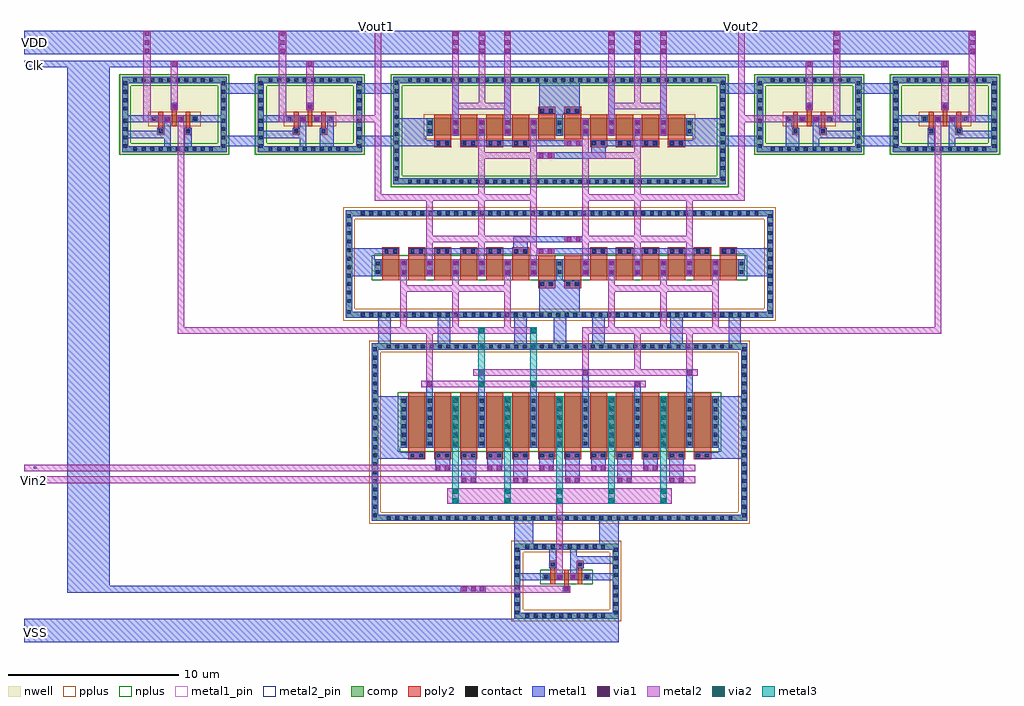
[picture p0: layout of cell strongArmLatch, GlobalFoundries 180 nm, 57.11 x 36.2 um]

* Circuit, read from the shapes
.subckt strongArmLatch Clk VDD VSS Vin1 Vin2 Vout1 Vout2
XM1 n1 VSS VSS VSS nfet_03v3 w=1u l=1u
XM2 n1 VSS VSS VSS nfet_03v3 w=3u l=1u
XM3 Vout1 Vout2 n1 VSS nfet_03v3 w=1u l=1u m=5
XM4 n2 Vin1 n1 VSS nfet_03v3 w=3u l=1u m=3
XM5 n3 Vin2 n2 VSS nfet_03v3 w=3u l=1u m=3
XM6 n2 Vin1 n3 VSS nfet_03v3 w=3u l=1u m=2
XM7 n1 Vin2 n2 VSS nfet_03v3 w=3u l=1u m=2
XM8 VSS VSS Vout1 VSS nfet_03v3 w=1u l=1u
XM9 n2 VSS VSS VSS nfet_03v3 w=0.4u l=0.28u
XM10 VSS Clk n2 VSS nfet_03v3 w=0.4u l=0.28u
XM11 Vout2 VSS VSS VSS nfet_03v3 w=1u l=1u
XM12 VSS VSS VSS VSS nfet_03v3 w=0.4u l=0.28u
XM13 n3 Vout1 Vout2 VSS nfet_03v3 w=1u l=1u m=5
XM14 VSS VSS n3 VSS nfet_03v3 w=3u l=1u
XM15 VSS VSS n3 VSS nfet_03v3 w=1u l=1u
XM16 VDD VDD VDD VDD pfet_03v3 w=0.4u l=0.28u m=4
XM17 n1 Clk VDD VDD pfet_03v3 w=0.4u l=0.28u
XM18 VDD VDD n1 VDD pfet_03v3 w=0.4u l=0.28u
XM19 Vout1 Clk VDD VDD pfet_03v3 w=0.4u l=0.28u
XM20 VDD VDD Vout1 VDD pfet_03v3 w=0.4u l=0.28u
XM21 VDD VDD VDD VDD pfet_03v3 w=1u l=1u m=2
XM22 Vout1 Vout2 VDD VDD pfet_03v3 w=1u l=1u m=3
XM23 VDD VDD Vout1 VDD pfet_03v3 w=1u l=1u
XM24 Vout2 VDD VDD VDD pfet_03v3 w=1u l=1u
XM25 VDD Vout1 Vout2 VDD pfet_03v3 w=1u l=1u m=3
XM26 Vout2 VDD VDD VDD pfet_03v3 w=0.4u l=0.28u
XM27 VDD Clk Vout2 VDD pfet_03v3 w=0.4u l=0.28u
XM28 n3 VDD VDD VDD pfet_03v3 w=0.4u l=0.28u
XM29 VDD Clk n3 VDD pfet_03v3 w=0.4u l=0.28u
.ends

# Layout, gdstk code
from math import pi, radians
import gdstk
lib = gdstk.Library(unit=1e-6, precision=1e-09)
def R(c, l, rs):  # rectangles x0, y0, x1, y1
    for r in rs: c.add(gdstk.rectangle(r[:2], r[2:], *l))
def A(c, l, x, y, w, h, nx, ny, dx, dy):  # array of equal rectangles
    R(c, l, [(x+i*dx, y+j*dy, x+i*dx+w, y+j*dy+h) for i in range(nx) for j in range(ny)])
def P(c, l, *ps):  # polygons
    for p in ps: c.add(gdstk.Polygon(p, *l))
nwell = (21, 0)
comp = (22, 0)
poly2 = (30, 0)
pplus = (31, 0)
nplus = (32, 0)
contact = (33, 0)
metal1 = (34, 0)
metal1_pin = (34, 10)
via1 = (35, 0)
metal2 = (36, 0)
metal2_pin = (36, 10)
via2 = (38, 0)
metal3 = (42, 0)

nfet = lib.new_cell('nfet')
R(nfet, comp, [(0,0,18.6,3)])
A(nfet, poly2, 0.44, -0.22, 1, 3.44, 12, 1, 1.52, 0)
R(nfet, nplus, [(-0.16,-0.23,18.76,3.23)])
A(nfet, contact, 0.07, 0.14, 0.22, 0.22, 13, 6, 1.52, 0.5)
A(nfet, metal1, -0.01, -0.01, 0.38, 3.02, 13, 1, 1.52, 0)

nfet_1 = lib.new_cell('nfet$1')
R(nfet_1, comp, [(0,0,21.64,1)])
A(nfet_1, poly2, 0.44, -0.22, 1, 1.44, 14, 1, 1.52, 0)
R(nfet_1, nplus, [(-0.16,-0.23,21.8,1.23)])
A(nfet_1, contact, 0.07, 0.14, 0.22, 0.22, 15, 2, 1.52, 0.5)
A(nfet_1, metal1, -0.01, -0.01, 0.38, 1.02, 15, 1, 1.52, 0)

pfet = lib.new_cell('pfet')
R(pfet, nwell, [(-0.43,-0.43,15.99,1.43)])
R(pfet, comp, [(0,0,15.56,1)])
A(pfet, poly2, 0.44, -0.22, 1, 1.44, 10, 1, 1.52, 0)
R(pfet, pplus, [(-0.16,-0.23,15.72,1.23)])
A(pfet, contact, 0.07, 0.14, 0.22, 0.22, 11, 2, 1.52, 0.5)
A(pfet, metal1, -0.01, -0.01, 0.38, 1.02, 11, 1, 1.52, 0)

pfet_1 = lib.new_cell('pfet$1')
R(pfet_1, nwell, [(-0.43,-0.43,3.19,0.83)])
R(pfet_1, comp, [(0,0,2.76,0.4)])
A(pfet_1, poly2, 0.44, -0.22, 0.28, 0.84, 3, 1, 0.8, 0)
R(pfet_1, pplus, [(-0.16,-0.23,2.92,0.63)])
A(pfet_1, contact, 0.07, 0.09, 0.22, 0.22, 4, 1, 0.8, 0)
A(pfet_1, metal1, -0.01, -0.01, 0.38, 0.42, 4, 1, 0.8, 0)

nfet_2 = lib.new_cell('nfet$2')
R(nfet_2, comp, [(0,0,2.76,0.4)])
A(nfet_2, poly2, 0.44, -0.22, 0.28, 0.84, 3, 1, 0.8, 0)
R(nfet_2, nplus, [(-0.16,-0.23,2.92,0.63)])
A(nfet_2, contact, 0.07, 0.09, 0.22, 0.22, 4, 1, 0.8, 0)
A(nfet_2, metal1, -0.01, -0.01, 0.38, 0.42, 4, 1, 0.8, 0)

strongarmlatch = lib.new_cell('strongArmLatch')
R(strongarmlatch, nwell, [(2.75,18.98,22.45,25.51), (-13.12,20.87,-6.76,25.51), (-5.19,20.87,1.17,25.51), (24.03,20.87,30.39,25.51), (31.97,20.87,38.33,25.51), (4.39,21.07,20.81,21.54), (-11.75,23.57,-8.13,24.08), (-3.82,23.57,-0.2,24.08), (25.4,23.57,29.02,24.08), (33.34,23.57,36.96,24.08)])
A(strongarmlatch, comp, 5.84, -0.59, 3.48, 0.36, 4, 2, 3.48, 10.03)
A(strongarmlatch, comp, 4.32, 11.3, 3.48, 0.36, 5, 2, 3.48, 5.94)
A(strongarmlatch, comp, 7.09, 19.1, 3.48, 0.36, 3, 2, 3.48, 5.93)
A(strongarmlatch, comp, -9, 20.99, 0.48, 0.36, 3, 2, 0.48, 4.04)
A(strongarmlatch, comp, -1.07, 20.99, 0.48, 0.36, 3, 2, 0.48, 4.04)
A(strongarmlatch, comp, 24.83, 20.99, 0.48, 0.36, 3, 2, 0.48, 4.04)
A(strongarmlatch, comp, 32.77, 20.99, 0.48, 0.36, 3, 2, 0.48, 4.04)
R(strongarmlatch, comp, [(9.94,-6.31,10.46,-5.95), (9.94,-6.31,10.46,-5.95), (10.46,-6.31,13.94,-5.95), (10.46,-6.31,13.94,-5.95), (13.94,-6.31,14.42,-5.95), (13.94,-6.31,14.42,-5.95), (14.42,-6.31,14.9,-5.95), (14.42,-6.31,14.9,-5.95), (14.9,-6.31,15.38,-5.95), (14.9,-6.31,15.38,-5.95), (15.38,-6.31,15.54,-5.95), (15.38,-6.31,15.54,-5.95), (15.54,-6.31,16.06,-5.95), (15.54,-6.31,16.06,-5.95), (9.94,-5.95,10.3,-4.34), (9.94,-5.95,10.3,-4.34), (15.7,-5.95,16.06,-4.34), (15.7,-5.95,16.06,-4.34), (9.94,-4.71,10.3,-4.23), (9.94,-4.71,10.3,-4.23), (15.7,-4.71,16.06,-4.23), (15.7,-4.71,16.06,-4.23), (9.94,-4.23,10.3,-3.99), (9.94,-4.23,10.3,-3.99), (15.7,-4.23,16.06,-3.99), (15.7,-4.23,16.06,-3.99), (9.94,-3.99,10.3,-3.51), (9.94,-3.99,10.3,-3.51), (15.7,-3.99,16.06,-3.51), (15.7,-3.99,16.06,-3.51), (9.94,-3.88,10.3,-2.27), (9.94,-3.88,10.3,-2.27), (15.7,-3.88,16.06,-2.27), (15.7,-3.88,16.06,-2.27), (9.94,-2.27,10.46,-1.91), (9.94,-2.27,10.46,-1.91), (10.46,-2.27,13.94,-1.91), (10.46,-2.27,13.94,-1.91), (13.94,-2.27,14.42,-1.91), (13.94,-2.27,14.42,-1.91), (14.42,-2.27,14.9,-1.91), (14.42,-2.27,14.9,-1.91), (14.9,-2.27,15.38,-1.91), (14.9,-2.27,15.38,-1.91), (15.38,-2.27,15.54,-1.91), (15.38,-2.27,15.54,-1.91), (15.54,-2.27,16.06,-1.91), (15.54,-2.27,16.06,-1.91), (1.62,-0.59,5.84,-0.23), (19.36,-0.59,23.58,-0.23), (1.62,-0.23,1.98,3.73), (23.22,-0.23,23.58,3.73), (1.62,3.73,1.98,5.48), (23.22,3.73,23.58,5.48), (1.62,5.48,1.98,9.44), (23.22,5.48,23.58,9.44), (1.62,9.44,5.84,9.8), (19.36,9.44,23.58,9.8), (0.1,11.3,4.32,11.66), (20.88,11.3,25.1,11.66), (0.1,11.66,0.46,13.28), (24.74,11.66,25.1,13.28), (0.1,13.28,0.46,17.24), (24.74,13.28,25.1,17.24), (0.1,17.24,4.32,17.6), (20.88,17.24,25.1,17.6), (2.87,19.1,7.09,19.46), (17.53,19.1,18.11,19.46), (18.11,19.1,22.33,19.46), (2.87,19.46,3.23,21.07), (21.97,19.46,22.33,21.07), (-13,20.99,-12.48,21.35), (-12.48,20.99,-9,21.35), (-7.56,20.99,-7.4,21.35), (-7.4,20.99,-6.88,21.35), (-5.07,20.99,-4.55,21.35), (-4.55,20.99,-1.07,21.35), (0.37,20.99,0.53,21.35), (0.53,20.99,1.05,21.35), (24.15,20.99,24.67,21.35), (24.67,20.99,24.83,21.35), (26.27,20.99,29.75,21.35), (29.75,20.99,30.27,21.35), (32.09,20.99,32.61,21.35), (32.61,20.99,32.77,21.35), (34.21,20.99,37.69,21.35), (37.69,20.99,38.21,21.35), (2.87,21.07,3.23,25.03), (21.97,21.07,22.33,25.03), (-13,21.35,-12.64,22.96), (-7.24,21.35,-6.88,22.96), (-5.07,21.35,-4.71,22.96), (0.69,21.35,1.05,22.96), (24.15,21.35,24.51,22.96), (29.91,21.35,30.27,22.96), (32.09,21.35,32.45,22.96), (37.85,21.35,38.21,22.96), (-13,22.59,-12.64,23.07), (-7.24,22.59,-6.88,23.07), (-5.07,22.59,-4.71,23.07), (0.69,22.59,1.05,23.07), (24.15,22.59,24.51,23.07), (29.91,22.59,30.27,23.07), (32.09,22.59,32.45,23.07), (37.85,22.59,38.21,23.07), (-13,23.07,-12.64,23.31), (-7.24,23.07,-6.88,23.31), (-5.07,23.07,-4.71,23.31), (0.69,23.07,1.05,23.31), (24.15,23.07,24.51,23.31), (29.91,23.07,30.27,23.31), (32.09,23.07,32.45,23.31), (37.85,23.07,38.21,23.31), (-13,23.31,-12.64,23.79), (-7.24,23.31,-6.88,23.79), (-5.07,23.31,-4.71,23.79), (0.69,23.31,1.05,23.79), (24.15,23.31,24.51,23.79), (29.91,23.31,30.27,23.79), (32.09,23.31,32.45,23.79), (37.85,23.31,38.21,23.79), (-13,23.42,-12.64,25.03), (-7.24,23.42,-6.88,25.03), (-5.07,23.42,-4.71,25.03), (0.69,23.42,1.05,25.03), (24.15,23.42,24.51,25.03), (29.91,23.42,30.27,25.03), (32.09,23.42,32.45,25.03), (37.85,23.42,38.21,25.03), (-13,25.03,-12.48,25.39), (-12.48,25.03,-9,25.39), (-7.56,25.03,-7.4,25.39), (-7.4,25.03,-6.88,25.39), (-5.07,25.03,-4.55,25.39), (-4.55,25.03,-1.07,25.39), (0.37,25.03,0.53,25.39), (0.53,25.03,1.05,25.39), (2.87,25.03,7.09,25.39), (17.53,25.03,18.11,25.39), (18.11,25.03,22.33,25.39), (24.15,25.03,24.67,25.39), (24.67,25.03,24.83,25.39), (26.27,25.03,29.75,25.39), (29.75,25.03,30.27,25.39), (32.09,25.03,32.61,25.39), (32.61,25.03,32.77,25.39), (34.21,25.03,37.69,25.39), (37.69,25.03,38.21,25.39)])
A(strongarmlatch, poly2, 3.74, 3.01, 1, 0.47, 12, 1, 1.52, 0)
A(strongarmlatch, poly2, 2.22, 14.95, 1, 0.47, 6, 1, 1.52, 0)
A(strongarmlatch, poly2, 14.38, 14.95, 1, 0.47, 6, 1, 1.52, 0)
A(strongarmlatch, poly2, 5.26, 21.28, 1, 0.47, 4, 1, 1.52, 0)
A(strongarmlatch, poly2, 14.38, 21.28, 1, 0.47, 4, 1, 1.52, 0)
R(strongarmlatch, poly2, [(12.79,-4.79,13.21,-4.37), (12.79,-4.79,13.21,-4.37), (12.86,-4.37,13.14,-4.28), (12.86,-4.37,13.14,-4.28), (12.06,-3.44,12.34,-3.35), (12.06,-3.44,12.34,-3.35), (13.66,-3.44,13.94,-3.35), (13.66,-3.44,13.94,-3.35), (11.99,-3.35,12.41,-2.93), (11.99,-3.35,12.41,-2.93), (13.59,-3.35,14.01,-2.93), (13.59,-3.35,14.01,-2.93), (11.34,13.04,12.34,13.51), (11.34,13.04,12.34,13.51), (12.86,13.04,13.86,13.51), (12.86,13.04,13.86,13.51), (9.82,14.95,10.82,15.42), (14.38,14.95,15.38,15.42), (18.94,21.28,19.94,21.75), (-10.95,22.01,-10.53,22.43), (-9.35,22.01,-8.93,22.43), (-3.02,22.01,-2.6,22.43), (-1.42,22.01,-1,22.43), (26.2,22.01,26.62,22.43), (27.8,22.01,28.22,22.43), (34.14,22.01,34.56,22.43), (35.74,22.01,36.16,22.43), (-10.88,22.43,-10.6,22.52), (-9.28,22.43,-9,22.52), (-2.95,22.43,-2.67,22.52), (-1.35,22.43,-1.07,22.52), (26.27,22.43,26.55,22.52), (27.87,22.43,28.15,22.52), (34.21,22.43,34.49,22.52), (35.81,22.43,36.09,22.52), (11.34,23.19,12.34,23.66), (11.34,23.19,12.34,23.66), (12.86,23.19,13.86,23.66), (12.86,23.19,13.86,23.66), (-10.08,23.36,-9.8,23.45), (-2.15,23.36,-1.87,23.45), (27.07,23.36,27.35,23.45), (35.01,23.36,35.29,23.45), (-10.15,23.45,-9.73,23.87), (-2.22,23.45,-1.8,23.87), (27,23.45,27.42,23.87), (34.94,23.45,35.36,23.87)])
A(strongarmlatch, pplus, 5.84, -0.75, 3.48, 0.68, 4, 2, 3.48, 10.03)
A(strongarmlatch, pplus, 4.32, 11.14, 3.48, 0.68, 5, 2, 3.48, 5.94)
R(strongarmlatch, pplus, [(9.78,-6.47,10.46,-1.75), (9.78,-6.47,10.46,-1.75), (10.46,-6.47,15.54,-5.79), (10.46,-6.47,15.54,-5.79), (15.54,-6.47,16.22,-1.75), (15.54,-6.47,16.22,-1.75), (10.46,-2.43,15.54,-1.75), (10.46,-2.43,15.54,-1.75), (1.46,-0.75,5.84,-0.07), (19.36,-0.75,23.74,-0.07), (1.46,-0.07,2.14,3.57), (23.06,-0.07,23.74,3.57), (1.46,3.57,2.14,5.64), (23.06,3.57,23.74,5.64), (1.46,5.64,2.14,9.28), (23.06,5.64,23.74,9.28), (1.46,9.28,5.84,9.96), (19.36,9.28,23.74,9.96), (-0.06,11.14,4.32,11.82), (20.88,11.14,25.26,11.82), (-0.06,11.82,0.62,13.44), (24.58,11.82,25.26,13.44), (-0.06,13.44,0.62,17.08), (24.58,13.44,25.26,17.08), (-0.06,17.08,4.32,17.76), (20.88,17.08,25.26,17.76)])
A(strongarmlatch, nplus, 7.09, 18.94, 3.48, 0.68, 3, 2, 3.48, 5.93)
A(strongarmlatch, nplus, -9, 20.83, 0.48, 0.68, 3, 2, 0.48, 4.04)
A(strongarmlatch, nplus, -1.07, 20.83, 0.48, 0.68, 3, 2, 0.48, 4.04)
A(strongarmlatch, nplus, 24.83, 20.83, 0.48, 0.68, 3, 2, 0.48, 4.04)
A(strongarmlatch, nplus, 32.77, 20.83, 0.48, 0.68, 3, 2, 0.48, 4.04)
R(strongarmlatch, nplus, [(2.71,18.94,7.09,19.62), (17.53,18.94,18.11,19.62), (18.11,18.94,22.49,19.62), (2.71,19.62,3.39,21.23), (21.81,19.62,22.49,21.23), (-13.16,20.83,-12.48,21.19), (-12.48,20.83,-9,21.51), (-7.56,20.83,-7.4,21.51), (-7.4,20.83,-6.72,21.19), (-5.23,20.83,-4.55,21.19), (-4.55,20.83,-1.07,21.51), (0.37,20.83,0.53,21.51), (0.53,20.83,1.21,21.19), (23.99,20.83,24.67,21.19), (24.67,20.83,24.83,21.51), (26.27,20.83,29.75,21.51), (29.75,20.83,30.43,21.19), (31.93,20.83,32.61,21.19), (32.61,20.83,32.77,21.51), (34.21,20.83,37.69,21.51), (37.69,20.83,38.37,21.19), (-13.16,21.19,-12.48,22.8), (-7.4,21.19,-6.72,22.8), (-5.23,21.19,-4.55,22.8), (0.53,21.19,1.21,22.8), (23.99,21.19,24.67,22.8), (29.75,21.19,30.43,22.8), (31.93,21.19,32.61,22.8), (37.69,21.19,38.37,22.8), (2.71,21.23,3.39,24.87), (21.81,21.23,22.49,24.87), (-13.16,22.59,-12.48,23.07), (-7.4,22.59,-6.72,23.07), (-5.23,22.59,-4.55,23.07), (0.53,22.59,1.21,23.07), (23.99,22.59,24.67,23.07), (29.75,22.59,30.43,23.07), (31.93,22.59,32.61,23.07), (37.69,22.59,38.37,23.07), (-13.16,23.07,-12.48,23.31), (-7.4,23.07,-6.72,23.31), (-5.23,23.07,-4.55,23.31), (0.53,23.07,1.21,23.31), (23.99,23.07,24.67,23.31), (29.75,23.07,30.43,23.31), (31.93,23.07,32.61,23.31), (37.69,23.07,38.37,23.31), (-13.16,23.31,-12.48,23.79), (-7.4,23.31,-6.72,23.79), (-5.23,23.31,-4.55,23.79), (0.53,23.31,1.21,23.79), (23.99,23.31,24.67,23.79), (29.75,23.31,30.43,23.79), (31.93,23.31,32.61,23.79), (37.69,23.31,38.37,23.79), (-13.16,23.58,-12.48,25.19), (-7.4,23.58,-6.72,25.19), (-5.23,23.58,-4.55,25.19), (0.53,23.58,1.21,25.19), (23.99,23.58,24.67,25.19), (29.75,23.58,30.43,25.19), (31.93,23.58,32.61,25.19), (37.69,23.58,38.37,25.19), (-12.48,24.87,-9,25.55), (-7.56,24.87,-7.4,25.55), (-4.55,24.87,-1.07,25.55), (0.37,24.87,0.53,25.55), (2.71,24.87,7.09,25.55), (17.53,24.87,18.11,25.55), (18.11,24.87,22.49,25.55), (24.67,24.87,24.83,25.55), (26.27,24.87,29.75,25.55), (32.61,24.87,32.77,25.55), (34.21,24.87,37.69,25.55), (-13.16,25.19,-12.48,25.55), (-7.4,25.19,-6.72,25.55), (-5.23,25.19,-4.55,25.55), (0.53,25.19,1.21,25.55), (23.99,25.19,24.67,25.55), (29.75,25.19,30.43,25.55), (31.93,25.19,32.61,25.55), (37.69,25.19,38.37,25.55)])
A(strongarmlatch, contact, 2.49, -0.52, 0.22, 0.22, 7, 2, 0.5, 10.03)
A(strongarmlatch, contact, 5.97, -0.52, 0.22, 0.22, 7, 2, 0.5, 10.03)
A(strongarmlatch, contact, 9.45, -0.52, 0.22, 0.22, 7, 2, 0.5, 10.03)
A(strongarmlatch, contact, 12.93, -0.52, 0.22, 0.22, 7, 2, 0.5, 10.03)
A(strongarmlatch, contact, 16.41, -0.52, 0.22, 0.22, 6, 2, 0.5, 10.03)
A(strongarmlatch, contact, 19.99, -0.52, 0.22, 0.22, 6, 2, 0.5, 10.03)
A(strongarmlatch, contact, 1.69, -0.36, 0.22, 0.22, 1, 8, 0, 0.5)
A(strongarmlatch, contact, 23.29, -0.36, 0.22, 0.22, 1, 8, 0, 0.5)
A(strongarmlatch, contact, 1.69, 5.85, 0.22, 0.22, 1, 8, 0, 0.5)
A(strongarmlatch, contact, 23.29, 5.85, 0.22, 0.22, 1, 8, 0, 0.5)
A(strongarmlatch, contact, 0.97, 11.37, 0.22, 0.22, 7, 2, 0.5, 5.94)
A(strongarmlatch, contact, 4.45, 11.37, 0.22, 0.22, 7, 2, 0.5, 5.94)
A(strongarmlatch, contact, 7.93, 11.37, 0.22, 0.22, 7, 2, 0.5, 5.94)
A(strongarmlatch, contact, 11.41, 11.37, 0.22, 0.22, 7, 2, 0.5, 5.94)
A(strongarmlatch, contact, 14.89, 11.37, 0.22, 0.22, 7, 2, 0.5, 5.94)
A(strongarmlatch, contact, 18.37, 11.37, 0.22, 0.22, 6, 2, 0.5, 5.94)
A(strongarmlatch, contact, 22.01, 11.37, 0.22, 0.22, 5, 2, 0.5, 5.94)
A(strongarmlatch, contact, 0.17, 12.17, 0.22, 0.22, 1, 3, 0, 0.5)
A(strongarmlatch, contact, 24.81, 12.17, 0.22, 0.22, 1, 3, 0, 0.5)
A(strongarmlatch, contact, 0.17, 13.65, 0.22, 0.22, 1, 8, 0, 0.5)
A(strongarmlatch, contact, 24.81, 13.65, 0.22, 0.22, 1, 8, 0, 0.5)
A(strongarmlatch, contact, 3.74, 19.17, 0.22, 0.22, 7, 2, 0.5, 5.93)
A(strongarmlatch, contact, 7.22, 19.17, 0.22, 0.22, 7, 2, 0.5, 5.93)
A(strongarmlatch, contact, 10.7, 19.17, 0.22, 0.22, 7, 2, 0.5, 5.93)
A(strongarmlatch, contact, 14.18, 19.17, 0.22, 0.22, 7, 2, 0.5, 5.93)
A(strongarmlatch, contact, 18.28, 19.17, 0.22, 0.22, 3, 2, 0.48, 5.93)
A(strongarmlatch, contact, 19.74, 19.17, 0.22, 0.22, 4, 2, 0.5, 5.93)
A(strongarmlatch, contact, 2.94, 19.96, 0.22, 0.22, 1, 3, 0, 0.5)
A(strongarmlatch, contact, 22.04, 19.96, 0.22, 0.22, 1, 3, 0, 0.5)
A(strongarmlatch, contact, -12.35, 21.06, 0.22, 0.22, 7, 2, 0.5, 4.04)
A(strongarmlatch, contact, -8.87, 21.06, 0.22, 0.22, 3, 2, 0.48, 4.04)
A(strongarmlatch, contact, -4.42, 21.06, 0.22, 0.22, 7, 2, 0.5, 4.04)
A(strongarmlatch, contact, -0.94, 21.06, 0.22, 0.22, 3, 2, 0.48, 4.04)
A(strongarmlatch, contact, 24.96, 21.06, 0.22, 0.22, 4, 2, 0.48, 4.04)
A(strongarmlatch, contact, 26.9, 21.06, 0.22, 0.22, 6, 2, 0.5, 4.04)
A(strongarmlatch, contact, 32.9, 21.06, 0.22, 0.22, 4, 2, 0.48, 4.04)
A(strongarmlatch, contact, 34.84, 21.06, 0.22, 0.22, 6, 2, 0.5, 4.04)
A(strongarmlatch, contact, -12.93, 21.24, 0.22, 0.22, 1, 3, 0, 0.5)
A(strongarmlatch, contact, -7.17, 21.24, 0.22, 0.22, 1, 3, 0, 0.5)
A(strongarmlatch, contact, -5, 21.24, 0.22, 0.22, 1, 3, 0, 0.5)
A(strongarmlatch, contact, 0.76, 21.24, 0.22, 0.22, 1, 3, 0, 0.5)
A(strongarmlatch, contact, 24.22, 21.24, 0.22, 0.22, 1, 3, 0, 0.5)
A(strongarmlatch, contact, 29.98, 21.24, 0.22, 0.22, 1, 3, 0, 0.5)
A(strongarmlatch, contact, 32.16, 21.24, 0.22, 0.22, 1, 3, 0, 0.5)
A(strongarmlatch, contact, 37.92, 21.24, 0.22, 0.22, 1, 3, 0, 0.5)
A(strongarmlatch, contact, 2.94, 21.44, 0.22, 0.22, 1, 8, 0, 0.5)
A(strongarmlatch, contact, 22.04, 21.44, 0.22, 0.22, 1, 8, 0, 0.5)
A(strongarmlatch, contact, -12.93, 23.92, 0.22, 0.22, 1, 3, 0, 0.5)
A(strongarmlatch, contact, -7.17, 23.92, 0.22, 0.22, 1, 3, 0, 0.5)
A(strongarmlatch, contact, -5, 23.92, 0.22, 0.22, 1, 3, 0, 0.5)
A(strongarmlatch, contact, 0.76, 23.92, 0.22, 0.22, 1, 3, 0, 0.5)
A(strongarmlatch, contact, 24.22, 23.92, 0.22, 0.22, 1, 3, 0, 0.5)
A(strongarmlatch, contact, 29.98, 23.92, 0.22, 0.22, 1, 3, 0, 0.5)
A(strongarmlatch, contact, 32.16, 23.92, 0.22, 0.22, 1, 3, 0, 0.5)
A(strongarmlatch, contact, 37.92, 23.92, 0.22, 0.22, 1, 3, 0, 0.5)
R(strongarmlatch, contact, [(10.59,-6.24,10.81,-6.02), (10.59,-6.24,10.81,-6.02), (11.09,-6.24,11.31,-6.02), (11.09,-6.24,11.31,-6.02), (11.59,-6.24,11.81,-6.02), (11.59,-6.24,11.81,-6.02), (12.09,-6.24,12.31,-6.02), (12.09,-6.24,12.31,-6.02), (12.59,-6.24,12.81,-6.02), (12.59,-6.24,12.81,-6.02), (13.09,-6.24,13.31,-6.02), (13.09,-6.24,13.31,-6.02), (13.59,-6.24,13.81,-6.02), (13.59,-6.24,13.81,-6.02), (14.07,-6.24,14.29,-6.02), (14.07,-6.24,14.29,-6.02), (14.55,-6.24,14.77,-6.02), (14.55,-6.24,14.77,-6.02), (15.03,-6.24,15.25,-6.02), (15.03,-6.24,15.25,-6.02), (10.01,-6.06,10.23,-5.84), (10.01,-6.06,10.23,-5.84), (15.77,-6.06,15.99,-5.84), (15.77,-6.06,15.99,-5.84), (10.01,-5.56,10.23,-5.34), (10.01,-5.56,10.23,-5.34), (15.77,-5.56,15.99,-5.34), (15.77,-5.56,15.99,-5.34), (10.01,-5.06,10.23,-4.84), (10.01,-5.06,10.23,-4.84), (15.77,-5.06,15.99,-4.84), (15.77,-5.06,15.99,-4.84), (12.89,-4.69,13.11,-4.47), (12.89,-4.69,13.11,-4.47), (10.01,-4.58,10.23,-4.36), (10.01,-4.58,10.23,-4.36), (15.77,-4.58,15.99,-4.36), (15.77,-4.58,15.99,-4.36), (10.01,-3.86,10.23,-3.64), (10.01,-3.86,10.23,-3.64), (15.77,-3.86,15.99,-3.64), (15.77,-3.86,15.99,-3.64), (10.01,-3.38,10.23,-3.16), (10.01,-3.38,10.23,-3.16), (15.77,-3.38,15.99,-3.16), (15.77,-3.38,15.99,-3.16), (12.09,-3.25,12.31,-3.03), (12.09,-3.25,12.31,-3.03), (13.69,-3.25,13.91,-3.03), (13.69,-3.25,13.91,-3.03), (10.01,-2.88,10.23,-2.66), (10.01,-2.88,10.23,-2.66), (15.77,-2.88,15.99,-2.66), (15.77,-2.88,15.99,-2.66), (10.01,-2.38,10.23,-2.16), (10.01,-2.38,10.23,-2.16), (15.77,-2.38,15.99,-2.16), (15.77,-2.38,15.99,-2.16), (10.59,-2.2,10.81,-1.98), (10.59,-2.2,10.81,-1.98), (11.09,-2.2,11.31,-1.98), (11.09,-2.2,11.31,-1.98), (11.59,-2.2,11.81,-1.98), (11.59,-2.2,11.81,-1.98), (12.09,-2.2,12.31,-1.98), (12.09,-2.2,12.31,-1.98), (12.59,-2.2,12.81,-1.98), (12.59,-2.2,12.81,-1.98), (13.09,-2.2,13.31,-1.98), (13.09,-2.2,13.31,-1.98), (13.59,-2.2,13.81,-1.98), (13.59,-2.2,13.81,-1.98), (14.07,-2.2,14.29,-1.98), (14.07,-2.2,14.29,-1.98), (14.55,-2.2,14.77,-1.98), (14.55,-2.2,14.77,-1.98), (15.03,-2.2,15.25,-1.98), (15.03,-2.2,15.25,-1.98), (19.45,-0.52,19.67,-0.3), (3.88,3.13,4.1,3.35), (4.38,3.13,4.6,3.35), (5.4,3.13,5.62,3.35), (5.9,3.13,6.12,3.35), (6.92,3.13,7.14,3.35), (7.42,3.13,7.64,3.35), (8.44,3.13,8.66,3.35), (8.94,3.13,9.16,3.35), (9.96,3.13,10.18,3.35), (10.46,3.13,10.68,3.35), (11.48,3.13,11.7,3.35), (11.98,3.13,12.2,3.35), (13,3.13,13.22,3.35), (13.5,3.13,13.72,3.35), (14.52,3.13,14.74,3.35), (15.02,3.13,15.24,3.35), (16.04,3.13,16.26,3.35), (16.54,3.13,16.76,3.35), (17.56,3.13,17.78,3.35), (18.06,3.13,18.28,3.35), (19.08,3.13,19.3,3.35), (19.58,3.13,19.8,3.35), (20.6,3.13,20.82,3.35), (21.1,3.13,21.32,3.35), (1.69,3.62,1.91,3.84), (23.29,3.62,23.51,3.84), (1.69,4.1,1.91,4.32), (23.29,4.1,23.51,4.32), (1.69,4.73,1.91,4.95), (23.29,4.73,23.51,4.95), (1.69,5.37,1.91,5.59), (23.29,5.37,23.51,5.59), (19.45,9.51,19.67,9.73), (21.53,11.37,21.75,11.59), (0.17,11.53,0.39,11.75), (24.81,11.53,25.03,11.75), (11.48,13.17,11.7,13.39), (11.48,13.17,11.7,13.39), (11.98,13.17,12.2,13.39), (11.98,13.17,12.2,13.39), (13,13.17,13.22,13.39), (13,13.17,13.22,13.39), (13.5,13.17,13.72,13.39), (13.5,13.17,13.72,13.39), (2.36,15.08,2.58,15.3), (2.86,15.08,3.08,15.3), (3.88,15.08,4.1,15.3), (4.38,15.08,4.6,15.3), (5.4,15.08,5.62,15.3), (5.9,15.08,6.12,15.3), (6.92,15.08,7.14,15.3), (7.42,15.08,7.64,15.3), (8.44,15.08,8.66,15.3), (8.94,15.08,9.16,15.3), (9.96,15.08,10.18,15.3), (9.96,15.08,10.18,15.3), (10.46,15.08,10.68,15.3), (10.46,15.08,10.68,15.3), (14.52,15.08,14.74,15.3), (14.52,15.08,14.74,15.3), (15.02,15.08,15.24,15.3), (15.02,15.08,15.24,15.3), (16.04,15.08,16.26,15.3), (16.54,15.08,16.76,15.3), (17.56,15.08,17.78,15.3), (18.06,15.08,18.28,15.3), (19.08,15.08,19.3,15.3), (19.58,15.08,19.8,15.3), (20.6,15.08,20.82,15.3), (21.1,15.08,21.32,15.3), (22.12,15.08,22.34,15.3), (22.62,15.08,22.84,15.3), (21.53,17.31,21.75,17.53), (17.73,19.17,17.95,19.39), (2.94,19.33,3.16,19.55), (22.04,19.33,22.26,19.55), (5.4,21.41,5.62,21.63), (5.4,21.41,5.62,21.63), (5.9,21.41,6.12,21.63), (5.9,21.41,6.12,21.63), (6.92,21.41,7.14,21.63), (7.42,21.41,7.64,21.63), (8.44,21.41,8.66,21.63), (8.94,21.41,9.16,21.63), (9.96,21.41,10.18,21.63), (10.46,21.41,10.68,21.63), (14.52,21.41,14.74,21.63), (15.02,21.41,15.24,21.63), (16.04,21.41,16.26,21.63), (16.54,21.41,16.76,21.63), (17.56,21.41,17.78,21.63), (18.06,21.41,18.28,21.63), (19.08,21.41,19.3,21.63), (19.08,21.41,19.3,21.63), (19.58,21.41,19.8,21.63), (19.58,21.41,19.8,21.63), (-10.85,22.11,-10.63,22.33), (-9.25,22.11,-9.03,22.33), (-2.92,22.11,-2.7,22.33), (-1.32,22.11,-1.1,22.33), (26.3,22.11,26.52,22.33), (27.9,22.11,28.12,22.33), (34.24,22.11,34.46,22.33), (35.84,22.11,36.06,22.33), (-12.93,22.72,-12.71,22.94), (-7.17,22.72,-6.95,22.94), (-5,22.72,-4.78,22.94), (0.76,22.72,0.98,22.94), (24.22,22.72,24.44,22.94), (29.98,22.72,30.2,22.94), (32.16,22.72,32.38,22.94), (37.92,22.72,38.14,22.94), (11.48,23.31,11.7,23.53), (11.48,23.31,11.7,23.53), (11.98,23.31,12.2,23.53), (11.98,23.31,12.2,23.53), (13,23.31,13.22,23.53), (13,23.31,13.22,23.53), (13.5,23.31,13.72,23.53), (13.5,23.31,13.72,23.53), (-12.93,23.44,-12.71,23.66), (-7.17,23.44,-6.95,23.66), (-5,23.44,-4.78,23.66), (0.76,23.44,0.98,23.66), (24.22,23.44,24.44,23.66), (29.98,23.44,30.2,23.66), (32.16,23.44,32.38,23.66), (37.92,23.44,38.14,23.66), (-10.05,23.55,-9.83,23.77), (-2.12,23.55,-1.9,23.77), (27.1,23.55,27.32,23.77), (35.04,23.55,35.26,23.77), (17.73,25.1,17.95,25.32)])
A(strongarmlatch, metal1, 5.84, -0.59, 3.48, 0.36, 4, 2, 3.48, 10.03)
A(strongarmlatch, metal1, 6.85, 1.62, 0.86, 1.44, 5, 1, 3.04, 0)
A(strongarmlatch, metal1, 5.33, 2.31, 0.86, 0.75, 5, 1, 3.04, 0)
A(strongarmlatch, metal1, 3.81, 3.06, 0.86, 0.36, 12, 1, 1.52, 0)
A(strongarmlatch, metal1, 4.81, 6.71, 0.38, 0.9, 3, 1, 6.08, 0)
A(strongarmlatch, metal1, 7.85, 6.71, 0.38, 1.57, 3, 1, 6.08, 0)
A(strongarmlatch, metal1, 4.32, 11.3, 3.48, 0.36, 5, 2, 3.48, 5.94)
A(strongarmlatch, metal1, 2.29, 15.01, 0.86, 0.36, 6, 1, 1.52, 0)
A(strongarmlatch, metal1, 14.45, 15.01, 0.86, 0.36, 6, 1, 1.52, 0)
A(strongarmlatch, metal1, 7.09, 19.1, 3.48, 0.36, 3, 2, 3.48, 5.93)
A(strongarmlatch, metal1, -9, 20.99, 0.48, 0.36, 3, 2, 0.48, 4.04)
A(strongarmlatch, metal1, -1.07, 20.99, 0.48, 0.36, 3, 2, 0.48, 4.04)
A(strongarmlatch, metal1, 24.83, 20.99, 0.48, 0.36, 3, 2, 0.48, 4.04)
A(strongarmlatch, metal1, 32.77, 20.99, 0.48, 0.36, 3, 2, 0.48, 4.04)
A(strongarmlatch, metal1, 5.33, 21.34, 0.86, 0.36, 4, 1, 1.52, 0)
A(strongarmlatch, metal1, 14.45, 21.34, 0.86, 0.36, 4, 1, 1.52, 0)
A(strongarmlatch, metal1, -18.73, 25.95, 13.14, 0.38, 4, 1, 13.14, 0)
A(strongarmlatch, metal1, -18.73, 26.73, 13.14, 1.38, 4, 1, 13.14, 0)
R(strongarmlatch, metal1, [(-18.73,-7.69,-5.59,-6.31), (-5.59,-7.69,7.55,-6.31), (7.55,-7.69,16.06,-6.31), (7.55,-7.69,16.06,-6.31), (9.94,-6.31,10.46,-5.95), (9.94,-6.31,10.46,-5.95), (10.46,-6.31,13.94,-5.95), (10.46,-6.31,13.94,-5.95), (13.94,-6.31,14.42,-5.95), (13.94,-6.31,14.42,-5.95), (14.42,-6.31,14.9,-5.95), (14.42,-6.31,14.9,-5.95), (14.9,-6.31,15.38,-5.95), (14.9,-6.31,15.38,-5.95), (15.38,-6.31,15.54,-5.95), (15.38,-6.31,15.54,-5.95), (15.54,-6.31,16.06,-5.95), (15.54,-6.31,16.06,-5.95), (9.94,-5.95,10.3,-4.34), (9.94,-5.95,10.3,-4.34), (15.7,-5.95,16.06,-4.34), (15.7,-5.95,16.06,-4.34), (-16.22,-4.79,8.28,-4.37), (12.79,-4.79,13.21,-4.37), (12.79,-4.79,13.21,-4.37), (9.94,-4.71,10.3,-4.23), (9.94,-4.71,10.3,-4.23), (15.7,-4.71,16.06,-4.23), (15.7,-4.71,16.06,-4.23), (-16.22,-4.37,-13.72,25.95), (9.94,-4.23,10.3,-3.99), (9.94,-4.23,10.3,-3.99), (15.7,-4.23,16.06,-3.99), (15.7,-4.23,16.06,-3.99), (10.3,-4.07,11.61,-3.65), (14.39,-4.07,15.7,-3.65), (9.94,-3.99,10.3,-3.51), (9.94,-3.99,10.3,-3.51), (15.7,-3.99,16.06,-3.51), (15.7,-3.99,16.06,-3.51), (9.94,-3.88,10.3,-2.27), (9.94,-3.88,10.3,-2.27), (15.7,-3.88,16.06,-2.27), (15.7,-3.88,16.06,-2.27), (13.21,-3.65,13.59,-2.27), (13.21,-3.65,13.59,-2.27), (11.99,-3.35,12.41,-2.93), (11.99,-3.35,12.41,-2.93), (13.59,-3.35,14.01,-2.93), (13.59,-3.35,14.01,-2.93), (13.59,-3.08,15.7,-2.66), (13.59,-3.08,15.7,-2.66), (11.99,-2.93,12.41,-2.27), (9.94,-2.27,10.46,-1.91), (9.94,-2.27,10.46,-1.91), (10.46,-2.27,13.94,-1.91), (10.46,-2.27,13.94,-1.91), (13.94,-2.27,14.42,-1.91), (13.94,-2.27,14.42,-1.91), (14.42,-2.27,14.9,-1.91), (14.42,-2.27,14.9,-1.91), (14.9,-2.27,15.38,-1.91), (14.9,-2.27,15.38,-1.91), (15.38,-2.27,15.54,-1.91), (15.38,-2.27,15.54,-1.91), (15.54,-2.27,16.06,-1.91), (15.54,-2.27,16.06,-1.91), (9.94,-1.91,11.07,-0.59), (14.93,-1.91,16.06,-0.59), (1.62,-0.59,5.84,-0.23), (19.36,-0.59,23.58,-0.23), (1.62,-0.23,1.98,3.73), (23.22,-0.23,23.58,3.73), (1.98,3.06,3.81,3.42), (21.39,3.06,23.22,3.42), (1.98,3.42,3.29,3.69), (21.91,3.42,23.22,3.69), (1.98,3.69,3.29,6.71), (21.91,3.69,23.22,6.71), (1.62,3.73,1.98,5.48), (23.22,3.73,23.58,5.48), (1.62,5.48,1.98,9.44), (23.22,5.48,23.58,9.44), (1.62,9.44,5.84,9.8), (19.36,9.44,23.58,9.8), (1.99,9.8,2.71,11.3), (5.47,9.8,6.19,11.3), (9.95,9.8,10.67,11.3), (12.27,9.8,12.99,11.3), (14.52,9.8,15.24,11.3), (19.08,9.8,19.8,11.3), (22.49,9.8,23.21,11.3), (0.1,11.3,4.32,11.66), (20.88,11.3,25.1,11.66), (0.1,11.66,0.46,13.28), (11.41,11.66,13.79,13.1), (12.41,11.66,12.79,13.72), (24.74,11.66,25.1,13.28), (11.41,13.1,12.27,13.46), (11.41,13.1,12.27,13.46), (12.27,13.1,12.93,13.46), (12.93,13.1,13.79,13.46), (12.93,13.1,13.79,13.46), (0.1,13.28,0.46,17.24), (24.74,13.28,25.1,17.24), (0.46,13.72,1.77,14.74), (23.43,13.72,24.74,14.74), (0.46,14.74,1.77,15.01), (23.43,14.74,24.74,15.01), (0.46,15.01,2.29,15.37), (4.67,15.01,9.89,15.37), (9.89,15.01,10.75,15.37), (11.27,15.01,14.45,15.37), (14.45,15.01,15.31,15.37), (15.31,15.01,20.53,15.37), (22.91,15.01,24.74,15.37), (9.89,15.37,10.75,16.08), (10.75,15.72,12.91,16.08), (12.91,15.72,13.93,16.08), (0.1,17.24,4.32,17.6), (20.88,17.24,25.1,17.6), (2.87,19.1,7.09,19.46), (17.53,19.1,18.11,19.46), (18.11,19.1,22.33,19.46), (2.87,19.46,3.23,21.07), (21.97,19.46,22.33,21.07), (11.27,20.62,14.45,20.98), (14.45,20.62,15.31,21.34), (-13,20.99,-12.48,21.35), (-12.48,20.99,-9,21.35), (-7.56,20.99,-7.4,21.35), (-7.4,20.99,-6.88,21.35), (-5.07,20.99,-4.55,21.35), (-4.55,20.99,-1.07,21.35), (0.37,20.99,0.53,21.35), (0.53,20.99,1.05,21.35), (24.15,20.99,24.67,21.35), (24.67,20.99,24.83,21.35), (26.27,20.99,29.75,21.35), (29.75,20.99,30.27,21.35), (32.09,20.99,32.61,21.35), (32.61,20.99,32.77,21.35), (34.21,20.99,37.69,21.35), (37.69,20.99,38.21,21.35), (2.87,21.07,3.23,25.03), (21.97,21.07,22.33,25.03), (3.23,21.34,5.33,21.7), (5.33,21.34,6.19,21.7), (7.71,21.34,9.89,21.7), (10.75,21.34,12.91,21.7), (12.91,21.34,13.93,21.7), (15.31,21.34,17.49,21.7), (19.01,21.34,19.87,21.7), (19.87,21.34,21.97,21.7), (-13,21.35,-12.64,22.96), (-10.53,21.35,-10.15,22.73), (-9.35,21.35,-8.93,22.01), (-7.24,21.35,-6.88,22.96), (-6.89,21.35,-5.07,21.96), (-5.07,21.35,-4.71,22.96), (-2.6,21.35,-2.22,22.73), (-1.42,21.35,-1,22.01), (-1,21.35,-0.62,22.73), (0.69,21.35,1.05,22.96), (1.05,21.35,2.87,21.96), (22.33,21.35,24.15,21.96), (24.15,21.35,24.51,22.96), (25.82,21.35,26.2,22.73), (26.2,21.35,26.62,22.01), (27.42,21.35,27.8,22.73), (29.91,21.35,30.27,22.96), (30.27,21.35,32.09,21.96), (32.09,21.35,32.45,22.96), (34.14,21.35,34.56,22.01), (35.36,21.35,35.74,22.73), (37.85,21.35,38.21,22.96), (3.23,21.7,4.81,21.96), (20.39,21.7,21.97,21.96), (-12.64,21.81,-10.53,22.23), (-4.71,21.81,-2.6,22.23), (27.8,21.81,29.91,22.23), (35.74,21.81,37.85,22.23), (3.23,21.96,4.81,22.98), (20.39,21.96,21.97,22.98), (-10.95,22.01,-10.53,22.43), (-9.35,22.01,-8.93,22.43), (-3.02,22.01,-2.6,22.43), (-1.42,22.01,-1,22.43), (26.2,22.01,26.62,22.43), (27.8,22.01,28.22,22.43), (34.14,22.01,34.56,22.43), (35.74,22.01,36.16,22.43), (-13,22.59,-12.64,23.07), (-7.24,22.59,-6.88,23.07), (-5.07,22.59,-4.71,23.07), (0.69,22.59,1.05,23.07), (24.15,22.59,24.51,23.07), (29.91,22.59,30.27,23.07), (32.09,22.59,32.45,23.07), (37.85,22.59,38.21,23.07), (-12.64,22.73,-11.33,23.15), (-8.55,22.73,-7.24,23.15), (-4.71,22.73,-3.4,23.15), (28.6,22.73,29.91,23.15), (32.45,22.73,33.76,23.15), (36.54,22.73,37.85,23.15), (6.33,22.98,6.71,25.03), (9.37,22.98,9.75,25.03), (12.41,22.98,12.79,25.04), (15.45,22.98,15.83,25.03), (18.49,22.98,18.87,25.03), (-13,23.07,-12.64,23.31), (-7.24,23.07,-6.88,23.31), (-5.07,23.07,-4.71,23.31), (0.69,23.07,1.05,23.31), (24.15,23.07,24.51,23.31), (29.91,23.07,30.27,23.31), (32.09,23.07,32.45,23.31), (37.85,23.07,38.21,23.31), (11.41,23.24,12.27,23.6), (11.41,23.24,12.27,23.6), (12.27,23.24,12.93,23.6), (12.93,23.24,13.79,23.6), (12.93,23.24,13.79,23.6), (-13,23.31,-12.64,23.79), (-7.24,23.31,-6.88,23.79), (-5.07,23.31,-4.71,23.79), (0.69,23.31,1.05,23.79), (24.15,23.31,24.51,23.79), (29.91,23.31,30.27,23.79), (32.09,23.31,32.45,23.79), (37.85,23.31,38.21,23.79), (-13,23.42,-12.64,25.03), (-7.24,23.42,-6.88,25.03), (-5.07,23.42,-4.71,25.03), (0.69,23.42,1.05,25.03), (24.15,23.42,24.51,25.03), (29.91,23.42,30.27,25.03), (32.09,23.42,32.45,25.03), (37.85,23.42,38.21,25.03), (-10.15,23.45,-9.73,23.87), (-2.22,23.45,-1.8,23.87), (27,23.45,27.42,23.87), (34.94,23.45,35.36,23.87), (11.41,23.6,13.79,25.04), (-6.89,24.42,-5.07,25.03), (1.05,24.42,2.87,25.03), (22.33,24.42,24.15,25.03), (30.27,24.42,32.09,25.03), (-13,25.03,-12.48,25.39), (-12.48,25.03,-9,25.39), (-7.56,25.03,-7.4,25.39), (-7.4,25.03,-6.88,25.39), (-5.07,25.03,-4.55,25.39), (-4.55,25.03,-1.07,25.39), (0.37,25.03,0.53,25.39), (0.53,25.03,1.05,25.39), (2.87,25.03,7.09,25.39), (17.53,25.03,18.11,25.39), (18.11,25.03,22.33,25.39), (24.15,25.03,24.67,25.39), (24.67,25.03,24.83,25.39), (26.27,25.03,29.75,25.39), (29.75,25.03,30.27,25.39), (32.09,25.03,32.61,25.39), (32.61,25.03,32.77,25.39), (34.21,25.03,37.69,25.39), (37.69,25.03,38.21,25.39), (33.83,25.95,35.36,26.33), (33.83,26.73,36.96,28.11)])
R(strongarmlatch, metal1_pin, [(-18.12,-7.2,-17.96,-7.04), (-18.18,26.03,-18.06,26.14), (-18.18,27.34,-18.06,27.45)])
A(strongarmlatch, via1, 6.39, 3.77, 0.26, 0.26, 5, 6, 3.04, 0.52)
A(strongarmlatch, via1, 4.87, 7.29, 0.26, 0.26, 3, 1, 6.08, 0)
A(strongarmlatch, via1, 7.91, 7.97, 0.26, 0.26, 3, 1, 6.08, 0)
A(strongarmlatch, via1, -11.67, 26.77, 0.26, 0.26, 1, 3, 0, 0.52)
A(strongarmlatch, via1, -3.74, 26.77, 0.26, 0.26, 1, 3, 0, 0.52)
A(strongarmlatch, via1, 6.39, 26.77, 0.26, 0.26, 1, 3, 0, 0.52)
A(strongarmlatch, via1, 7.92, 26.77, 0.26, 0.26, 1, 3, 0, 0.52)
A(strongarmlatch, via1, 9.43, 26.77, 0.26, 0.26, 1, 3, 0, 0.52)
A(strongarmlatch, via1, 15.51, 26.77, 0.26, 0.26, 1, 3, 0, 0.52)
A(strongarmlatch, via1, 17.04, 26.77, 0.26, 0.26, 1, 3, 0, 0.52)
A(strongarmlatch, via1, 18.55, 26.77, 0.26, 0.26, 1, 3, 0, 0.52)
A(strongarmlatch, via1, 28.68, 26.77, 0.26, 0.26, 1, 3, 0, 0.52)
A(strongarmlatch, via1, 36.62, 26.77, 0.26, 0.26, 1, 3, 0, 0.52)
R(strongarmlatch, via1, [(6.9,-4.71,7.16,-4.45), (6.9,-4.71,7.16,-4.45), (7.42,-4.71,7.68,-4.45), (7.42,-4.71,7.68,-4.45), (7.94,-4.71,8.2,-4.45), (7.94,-4.71,8.2,-4.45), (12.87,-4.71,13.13,-4.45), (12.87,-4.71,13.13,-4.45), (12.47,-3.99,12.73,-3.73), (12.47,-3.99,12.73,-3.73), (13.27,-3.99,13.53,-3.73), (13.27,-3.99,13.53,-3.73), (6.89,1.69,7.15,1.95), (7.41,1.69,7.67,1.95), (9.93,1.69,10.19,1.95), (10.45,1.69,10.71,1.95), (12.97,1.69,13.23,1.95), (13.49,1.69,13.75,1.95), (16.01,1.69,16.27,1.95), (16.53,1.69,16.79,1.95), (19.05,1.69,19.31,1.95), (19.57,1.69,19.83,1.95), (5.37,2.38,5.63,2.64), (5.89,2.38,6.15,2.64), (8.41,2.38,8.67,2.64), (8.93,2.38,9.19,2.64), (11.45,2.38,11.71,2.64), (11.97,2.38,12.23,2.64), (14.49,2.38,14.75,2.64), (15.01,2.38,15.27,2.64), (17.53,2.38,17.79,2.64), (18.05,2.38,18.31,2.64), (3.35,13.83,3.61,14.09), (3.35,13.83,3.61,14.09), (4.87,13.83,5.13,14.09), (4.87,13.83,5.13,14.09), (6.39,13.83,6.65,14.09), (6.39,13.83,6.65,14.09), (7.91,13.83,8.17,14.09), (7.91,13.83,8.17,14.09), (9.43,13.83,9.69,14.09), (9.43,13.83,9.69,14.09), (10.95,13.83,11.21,14.09), (10.95,13.83,11.21,14.09), (13.99,13.83,14.25,14.09), (13.99,13.83,14.25,14.09), (15.51,13.83,15.77,14.09), (15.51,13.83,15.77,14.09), (17.03,13.83,17.29,14.09), (17.03,13.83,17.29,14.09), (18.55,13.83,18.81,14.09), (18.55,13.83,18.81,14.09), (20.07,13.83,20.33,14.09), (20.07,13.83,20.33,14.09), (21.59,13.83,21.85,14.09), (21.59,13.83,21.85,14.09), (3.35,14.37,3.61,14.63), (3.35,14.37,3.61,14.63), (4.87,14.37,5.13,14.63), (4.87,14.37,5.13,14.63), (6.39,14.37,6.65,14.63), (6.39,14.37,6.65,14.63), (7.91,14.37,8.17,14.63), (7.91,14.37,8.17,14.63), (9.43,14.37,9.69,14.63), (9.43,14.37,9.69,14.63), (10.95,14.37,11.21,14.63), (10.95,14.37,11.21,14.63), (13.99,14.37,14.25,14.63), (13.99,14.37,14.25,14.63), (15.51,14.37,15.77,14.63), (15.51,14.37,15.77,14.63), (17.03,14.37,17.29,14.63), (17.03,14.37,17.29,14.63), (18.55,14.37,18.81,14.63), (18.55,14.37,18.81,14.63), (20.07,14.37,20.33,14.63), (20.07,14.37,20.33,14.63), (21.59,14.37,21.85,14.63), (21.59,14.37,21.85,14.63), (11.38,15.06,11.64,15.32), (11.38,15.06,11.64,15.32), (11.92,15.06,12.18,15.32), (11.92,15.06,12.18,15.32), (13.02,15.77,13.28,16.03), (13.02,15.77,13.28,16.03), (13.56,15.77,13.82,16.03), (13.56,15.77,13.82,16.03), (11.38,20.67,11.64,20.93), (11.38,20.67,11.64,20.93), (11.92,20.67,12.18,20.93), (11.92,20.67,12.18,20.93), (13.02,21.39,13.28,21.65), (13.02,21.39,13.28,21.65), (13.56,21.39,13.82,21.65), (13.56,21.39,13.82,21.65), (6.39,22.07,6.65,22.33), (6.39,22.07,6.65,22.33), (7.91,22.07,8.17,22.33), (7.91,22.07,8.17,22.33), (9.43,22.07,9.69,22.33), (9.43,22.07,9.69,22.33), (10.95,22.07,11.21,22.33), (10.95,22.07,11.21,22.33), (13.99,22.07,14.25,22.33), (13.99,22.07,14.25,22.33), (15.51,22.07,15.77,22.33), (15.51,22.07,15.77,22.33), (17.03,22.07,17.29,22.33), (17.03,22.07,17.29,22.33), (18.55,22.07,18.81,22.33), (18.55,22.07,18.81,22.33), (6.39,22.61,6.65,22.87), (6.39,22.61,6.65,22.87), (7.91,22.61,8.17,22.87), (7.91,22.61,8.17,22.87), (9.43,22.61,9.69,22.87), (9.43,22.61,9.69,22.87), (10.95,22.61,11.21,22.87), (10.95,22.61,11.21,22.87), (13.99,22.61,14.25,22.87), (13.99,22.61,14.25,22.87), (15.51,22.61,15.77,22.87), (15.51,22.61,15.77,22.87), (17.03,22.61,17.29,22.87), (17.03,22.61,17.29,22.87), (18.55,22.61,18.81,22.87), (18.55,22.61,18.81,22.87), (-10.47,22.81,-10.21,23.07), (-9.67,22.81,-9.41,23.07), (-2.54,22.81,-2.28,23.07), (-1.74,22.81,-1.48,23.07), (26.68,22.81,26.94,23.07), (27.48,22.81,27.74,23.07), (34.62,22.81,34.88,23.07), (35.42,22.81,35.68,23.07), (-10.07,23.53,-9.81,23.79), (-2.14,23.53,-1.88,23.79), (27.08,23.53,27.34,23.79), (35.02,23.53,35.28,23.79), (-10.07,26.01,-9.81,26.27), (-2.14,26.01,-1.88,26.27), (27.08,26.01,27.34,26.27), (35.02,26.01,35.28,26.27)])
A(strongarmlatch, metal2, 6.33, 3.69, 0.38, 3.02, 5, 1, 3.04, 0)
A(strongarmlatch, metal2, 13.93, 8.28, 0.38, 2.08, 3, 1, 3.04, 0)
A(strongarmlatch, metal2, 3.29, 10.74, 0.38, 2.08, 3, 1, 3.04, 0)
A(strongarmlatch, metal2, 15.45, 10.74, 0.38, 2.08, 3, 1, 3.04, 0)
A(strongarmlatch, metal2, 4.81, 14.74, 0.38, 0.97, 6, 1, 3.04, 0)
A(strongarmlatch, metal2, 4.81, 16.09, 0.38, 2.08, 6, 1, 3.04, 0)
A(strongarmlatch, metal2, 7.85, 18.54, 0.38, 2.07, 4, 1, 3.04, 0)
A(strongarmlatch, metal2, 7.85, 20.99, 0.38, 0.97, 4, 1, 3.04, 0)
R(strongarmlatch, metal2, [(6.82,-4.79,12.79,-4.37), (6.82,-4.79,12.79,-4.37), (12.79,-4.79,13.21,-4.37), (12.79,-4.79,13.21,-4.37), (12.41,-4.07,12.79,-3.65), (12.41,-4.07,12.79,-3.65), (13.21,-4.07,13.59,-3.65), (13.21,-4.07,13.59,-3.65), (-18.74,1.62,-11.25,2.02), (-11.25,1.62,4.65,2.02), (4.65,1.62,20.55,2.02), (-18.74,2.31,-11.25,2.71), (-11.25,2.31,4.65,2.71), (4.65,2.31,20.55,2.71), (4.51,7.23,17.65,7.61), (4.81,7.61,5.19,10.36), (7.55,7.9,20.69,8.28), (-9.73,10.36,-9.35,23.15), (-9.35,10.36,11.27,10.74), (13.93,10.36,34.56,10.74), (34.56,10.36,34.94,23.15), (3.29,12.82,9.75,13.2), (3.29,12.82,9.75,13.2), (15.45,12.82,21.91,13.2), (15.45,12.82,21.91,13.2), (3.29,13.2,3.67,13.72), (3.29,13.2,3.67,13.72), (6.33,13.2,6.71,13.72), (6.33,13.2,6.71,13.72), (9.37,13.2,9.75,13.72), (9.37,13.2,9.75,13.72), (15.45,13.2,15.83,13.72), (15.45,13.2,15.83,13.72), (18.49,13.2,18.87,13.72), (18.49,13.2,18.87,13.72), (21.53,13.2,21.91,13.72), (21.53,13.2,21.91,13.72), (3.29,13.72,3.67,14.74), (3.29,13.72,3.67,14.74), (4.81,13.72,5.19,14.74), (4.81,13.72,5.19,14.74), (6.33,13.72,6.71,14.74), (6.33,13.72,6.71,14.74), (7.85,13.72,8.23,14.74), (7.85,13.72,8.23,14.74), (9.37,13.72,9.75,14.74), (9.37,13.72,9.75,14.74), (10.89,13.72,11.27,14.74), (10.89,13.72,11.27,14.74), (13.93,13.72,14.31,14.74), (13.93,13.72,14.31,14.74), (15.45,13.72,15.83,14.74), (15.45,13.72,15.83,14.74), (16.97,13.72,17.35,14.74), (16.97,13.72,17.35,14.74), (18.49,13.72,18.87,14.74), (18.49,13.72,18.87,14.74), (20.01,13.72,20.39,14.74), (20.01,13.72,20.39,14.74), (21.53,13.72,21.91,14.74), (21.53,13.72,21.91,14.74), (11.27,15.01,12.29,15.37), (4.81,15.71,11.27,16.09), (13.93,15.71,20.39,16.09), (12.91,15.72,13.93,16.08), (1.77,18.16,11.27,18.54), (13.93,18.16,23.43,18.54), (1.77,18.54,2.15,28.51), (23.05,18.54,23.43,28.51), (7.85,20.61,11.27,20.99), (13.93,20.61,17.35,20.99), (11.27,20.62,12.29,20.98), (12.91,21.34,13.93,21.7), (6.33,21.96,6.71,22.98), (6.33,21.96,6.71,22.98), (7.85,21.96,8.23,22.98), (7.85,21.96,8.23,22.98), (9.37,21.96,9.75,22.98), (9.37,21.96,9.75,22.98), (10.89,21.96,11.27,22.98), (10.89,21.96,11.27,22.98), (13.93,21.96,14.31,22.98), (13.93,21.96,14.31,22.98), (15.45,21.96,15.83,22.98), (15.45,21.96,15.83,22.98), (16.97,21.96,17.35,22.98), (16.97,21.96,17.35,22.98), (18.49,21.96,18.87,22.98), (18.49,21.96,18.87,22.98), (-11.75,22.73,-10.53,23.15), (-10.53,22.73,-10.15,23.15), (-9.73,22.73,-9.35,23.15), (-3.82,22.73,-2.6,23.15), (-2.6,22.73,-2.22,23.15), (-1.8,22.73,-1.42,23.15), (-1.42,22.73,1.77,23.15), (23.43,22.73,26.62,23.15), (26.62,22.73,27,23.15), (27.42,22.73,27.8,23.15), (27.8,22.73,29.02,23.15), (34.56,22.73,34.94,23.15), (35.36,22.73,35.74,23.15), (35.74,22.73,36.96,23.15), (6.33,22.98,6.71,23.49), (9.37,22.98,9.75,23.49), (15.45,22.98,15.83,23.49), (18.49,22.98,18.87,23.49), (-11.75,23.15,-11.33,28.11), (-3.82,23.15,-3.4,28.11), (28.6,23.15,29.02,28.11), (36.54,23.15,36.96,28.11), (-10.15,23.45,-9.73,23.87), (-2.22,23.45,-1.8,23.87), (27,23.45,27.42,23.87), (34.94,23.45,35.36,23.87), (6.33,23.49,9.75,23.87), (15.45,23.49,18.87,23.87), (-10.15,23.87,-9.73,26.33), (-2.22,23.87,-1.8,26.33), (6.33,23.87,6.71,28.11), (7.86,23.87,8.24,28.11), (9.37,23.87,9.75,28.11), (15.45,23.87,15.83,28.11), (16.98,23.87,17.36,28.11), (18.49,23.87,18.87,28.11), (27,23.87,27.42,26.33), (34.94,23.87,35.36,26.33)])
P(strongarmlatch, metal2, [(12.41,-3.65),(12.41,0.41),(6.03,0.41),(6.03,1.33),(19.17,1.33),(19.17,0.41),(12.79,0.41),(12.79,-3.65)])
R(strongarmlatch, metal2_pin, [(-18.18,1.71,-18.03,1.82), (-18.18,2.46,-18.03,2.57), (1.86,28.28,1.99,28.37), (23.18,28.28,23.31,28.37)])
A(strongarmlatch, via2, 6.39, 0.48, 0.26, 0.26, 5, 2, 3.04, 0.52)
A(strongarmlatch, via2, 6.39, 3.77, 0.26, 0.26, 5, 6, 3.04, 0.52)
R(strongarmlatch, via2, [(7.91,7.29,8.17,7.55), (10.95,7.29,11.21,7.55), (7.91,10.42,8.17,10.68), (10.95,10.42,11.21,10.68)])
A(strongarmlatch, metal3, 6.33, 0.41, 0.38, 3.28, 5, 1, 3.04, 0)
A(strongarmlatch, metal3, 6.33, 3.69, 0.38, 3.02, 5, 1, 3.04, 0)
R(strongarmlatch, metal3, [(7.85,7.23,8.23,10.74), (10.89,7.23,11.27,10.74)])
strongarmlatch.add(gdstk.Reference(nfet, (3.3,3.7)))
strongarmlatch.add(gdstk.Reference(nfet_1, (1.78,13.73)))
strongarmlatch.add(gdstk.Reference(pfet, (4.82,21.97)))
strongarmlatch.add(gdstk.Reference(pfet_1, (-3.39,22.74)))
strongarmlatch.add(gdstk.Reference(pfet_1, (28.59,22.74), rotation=pi, x_reflection=True))
strongarmlatch.add(gdstk.Reference(pfet_1, (-11.32,22.74)))
strongarmlatch.add(gdstk.Reference(pfet_1, (36.53,22.74), rotation=pi, x_reflection=True))
strongarmlatch.add(gdstk.Reference(nfet_2, (11.62,-3.66), x_reflection=True))
strongarmlatch.add(gdstk.Reference(nfet_2, (11.62,-3.66), x_reflection=True))
strongarmlatch.add(gdstk.Label('VSS', (-18.06,-7.13), layer=34, texttype=10))
strongarmlatch.add(gdstk.Label('Clk', (-18.14,26.07), layer=34, texttype=10))
strongarmlatch.add(gdstk.Label('VDD', (-18.14,27.38), layer=34, texttype=10))
strongarmlatch.add(gdstk.Label('Vin2', (-18.14,1.75), layer=36, texttype=10))
strongarmlatch.add(gdstk.Label('Vin1', (-18.14,2.5), layer=36, texttype=10))
strongarmlatch.add(gdstk.Label('Vout1', (1.91,28.32), layer=36, texttype=10))
strongarmlatch.add(gdstk.Label('Vout2', (23.23,28.32), layer=36, texttype=10))

lib.write_gds('strongArmLatch.gds')
